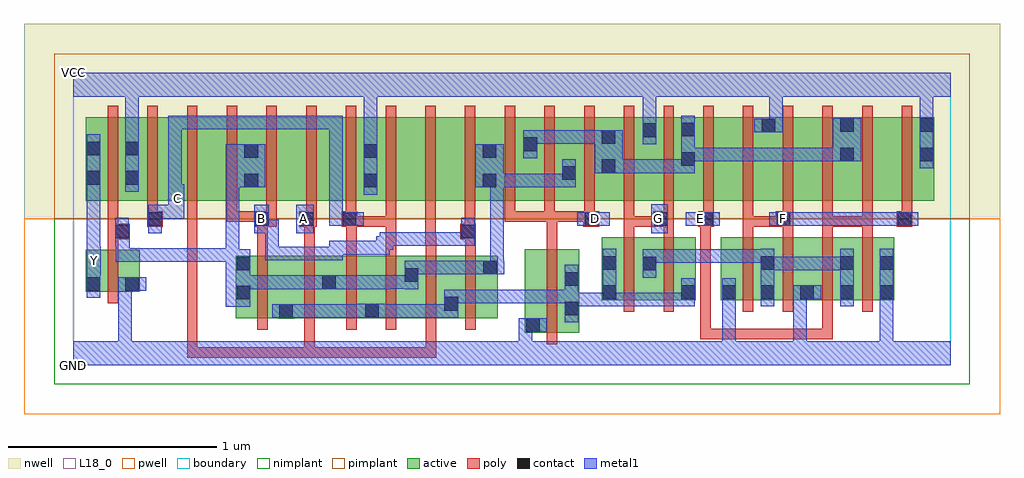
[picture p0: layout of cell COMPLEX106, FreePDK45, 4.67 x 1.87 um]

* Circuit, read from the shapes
.subckt COMPLEX106 A B C D E F G GND VCC Y
M1 GND n1 Y VSUBS nfet w=0.2u l=0.05u
M2 n2 B n1 VSUBS nfet w=0.3u l=0.05u m=2
M3 n1 A n2 VSUBS nfet w=0.3u l=0.05u m=2
M4 n2 C n1 VSUBS nfet w=0.3u l=0.05u m=2
M5 n2 D GND VSUBS nfet w=0.4u l=0.05u
M6 n3 G n2 VSUBS nfet w=0.3u l=0.05u m=2
M7 n3 F GND VSUBS nfet w=0.3u l=0.05u m=2
M8 n3 E GND VSUBS nfet w=0.3u l=0.05u m=2
M9 VCC n1 Y n4 pfet w=0.4u l=0.05u
M10 n5 C VCC n4 pfet w=0.4u l=0.05u
M11 n6 A n5 n4 pfet w=0.4u l=0.05u
M12 n1 B n6 n4 pfet w=0.4u l=0.05u
M13 n7 B n1 n4 pfet w=0.4u l=0.05u
M14 n8 A n7 n4 pfet w=0.4u l=0.05u
M15 VCC C n8 n4 pfet w=0.4u l=0.05u
M16 n9 C VCC n4 pfet w=0.4u l=0.05u
M17 n10 A n9 n4 pfet w=0.4u l=0.05u
M18 n1 B n10 n4 pfet w=0.4u l=0.05u
M19 n11 D n1 n4 pfet w=0.4u l=0.05u m=3
M20 VCC G n11 n4 pfet w=0.4u l=0.05u m=2
M21 n12 E n11 n4 pfet w=0.4u l=0.05u
M22 VCC F n12 n4 pfet w=0.4u l=0.05u
M23 n13 F VCC n4 pfet w=0.4u l=0.05u
M24 n11 E n13 n4 pfet w=0.4u l=0.05u
M25 n14 E n11 n4 pfet w=0.4u l=0.05u
M26 VCC F n14 n4 pfet w=0.4u l=0.05u
.ends

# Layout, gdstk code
import gdstk
lib = gdstk.Library(unit=1e-6, precision=1e-09)
def R(c, l, rs):  # rectangles x0, y0, x1, y1
    for r in rs: c.add(gdstk.rectangle(r[:2], r[2:], *l))
def A(c, l, x, y, w, h, nx, ny, dx, dy):  # array of equal rectangles
    R(c, l, [(x+i*dx, y+j*dy, x+i*dx+w, y+j*dy+h) for i in range(nx) for j in range(ny)])
active = (1, 0)
pwell = (2, 0)
nwell = (3, 0)
nimplant = (4, 0)
pimplant = (5, 0)
poly = (9, 0)
contact = (10, 0)
metal1 = (11, 0)
L18_0 = (18, 0)
boundary = (235, 0)

complex106 = lib.new_cell('COMPLEX106')
A(complex106, active, 0.777, 0.225, 0.28, 0.3, 3, 1, 0.205, 0)
A(complex106, active, 3.285, 0.312, 0.265, 0.3, 3, 1, 0.19, 0)
A(complex106, active, 0.245, 0.787, 0.23, 0.4, 3, 1, 0.57, 0)
A(complex106, active, 0.475, 0.787, 0.19, 0.4, 3, 1, 0.57, 0)
A(complex106, active, 0.665, 0.787, 0.225, 0.4, 3, 1, 0.57, 0)
R(complex106, active, [(2.162,0.155,2.422,0.555), (2.162,0.155,2.237,0.555), (2.347,0.2,2.422,0.555), (0.982,0.222,1.057,0.437), (1.392,0.225,1.657,0.525), (1.392,0.225,1.467,0.517), (1.582,0.225,1.847,0.525), (1.772,0.225,2.032,0.525), (1.772,0.257,1.847,0.405), (0.777,0.31,0.852,0.525), (2.53,0.312,2.605,0.612), (2.53,0.312,2.795,0.612), (2.72,0.312,2.98,0.612), (2.905,0.312,2.98,0.612), (3.1,0.312,3.175,0.612), (3.1,0.312,3.36,0.612), (3.285,0.312,3.36,0.612), (3.475,0.312,3.55,0.437), (3.665,0.312,3.74,0.527), (3.855,0.312,3.93,0.612), (1.187,0.33,1.262,0.435), (1.582,0.33,1.657,0.47), (1.957,0.33,2.032,0.525), (2.72,0.33,2.795,0.525), (0.06,0.352,0.135,0.552), (0.06,0.352,0.32,0.552), (0.245,0.352,0.32,0.552), (0.06,0.787,0.32,1.187), (0.06,0.787,0.135,1.187), (0.245,0.787,0.32,1.187), (0.815,0.787,0.89,1.07), (1.385,0.787,1.46,1.155), (1.955,0.787,2.225,1.187), (1.955,0.787,2.03,1.155), (2.15,0.787,2.41,1.187), (2.15,0.787,2.225,1.187), (2.335,0.787,2.6,1.187), (2.335,0.787,2.41,1.07), (2.525,0.787,2.795,1.187), (2.72,0.787,2.98,1.187), (2.905,0.787,3.135,1.187), (2.905,0.787,2.98,1.165), (3.135,0.787,3.365,1.187), (3.29,0.787,3.515,1.187), (3.515,0.787,3.74,1.187), (3.665,0.787,3.74,1.187), (3.665,0.787,3.895,1.187), (3.895,0.787,4.12,1.187), (4.045,0.787,4.12,1.187), (3.29,0.827,3.365,1.187), (2.525,0.907,2.6,1.187), (2.72,0.907,2.795,1.187)])
R(complex106, pwell, [(-0.235,-0.235,4.435,0.7)])
R(complex106, nwell, [(-0.235,0.7,4.435,1.635)])
R(complex106, nimplant, [(-0.09,-0.09,4.29,0.7)])
R(complex106, pimplant, [(-0.09,0.7,4.29,1.49)])
A(complex106, poly, 1.307, 0.17, 0.05, 0.41, 4, 1, 0.19, 0)
A(complex106, poly, 3.205, 0.257, 0.05, 0.41, 4, 1, 0.19, 0)
A(complex106, poly, 3.205, 0.617, 0.05, 0.095, 4, 1, 0.19, 0)
A(complex106, poly, 0.735, 0.687, 0.05, 0.095, 4, 1, 0.19, 0)
A(complex106, poly, 2.065, 0.687, 0.05, 0.095, 3, 1, 0.19, 0)
A(complex106, poly, 0.165, 0.732, 0.05, 0.51, 21, 1, 0.19, 0)
R(complex106, poly, [(0.545,0.037,0.595,0.087), (0.545,0.037,0.595,0.087), (0.545,0.037,0.595,0.087), (0.545,0.037,0.595,0.087), (0.545,0.037,0.595,0.087), (0.545,0.037,0.595,0.087), (0.545,0.037,0.595,0.087), (0.545,0.037,0.727,0.087), (0.545,0.037,0.595,0.782), (0.677,0.037,0.727,0.087), (0.677,0.037,0.727,0.087), (0.677,0.037,0.727,0.087), (0.677,0.037,0.727,0.087), (0.677,0.037,0.727,0.087), (0.677,0.037,0.86,0.087), (0.81,0.037,0.86,0.087), (0.81,0.037,0.917,0.087), (0.867,0.037,0.917,0.087), (0.867,0.037,1.157,0.087), (1.107,0.037,1.157,0.087), (1.107,0.037,1.157,0.087), (1.107,0.037,1.157,0.087), (1.107,0.037,1.157,0.22), (1.107,0.037,1.29,0.087), (1.24,0.037,1.29,0.087), (1.24,0.037,1.29,0.087), (1.24,0.037,1.29,0.087), (1.24,0.037,1.602,0.087), (1.552,0.037,1.602,0.087), (1.552,0.037,1.602,0.087), (1.552,0.037,1.602,0.087), (1.552,0.037,1.737,0.087), (1.687,0.037,1.737,0.087), (1.687,0.037,1.737,0.087), (1.687,0.037,1.737,0.087), (1.687,0.037,1.737,0.22), (2.267,0.1,2.317,0.61), (3,0.125,3.05,0.175), (3,0.125,3.05,0.175), (3,0.125,3.05,0.175), (3,0.125,3.28,0.175), (3,0.125,3.05,0.712), (3.23,0.125,3.28,0.175), (3.23,0.125,3.412,0.175), (3.362,0.125,3.412,0.175), (3.362,0.125,3.412,0.175), (3.362,0.125,3.412,0.175), (3.362,0.125,3.635,0.175), (3.585,0.125,3.635,0.175), (3.585,0.125,3.635,0.175), (3.585,0.125,3.635,0.175), (3.585,0.125,3.635,0.307), (0.882,0.17,0.932,0.58), (1.107,0.17,1.157,0.58), (2.635,0.257,2.685,0.667), (2.825,0.257,2.875,0.667), (0.165,0.297,0.215,0.607), (0.882,0.53,0.932,0.712), (1.107,0.53,1.157,0.712), (1.307,0.53,1.357,0.712), (1.497,0.53,1.547,0.712), (1.687,0.53,1.737,0.625), (1.877,0.53,1.927,0.652), (0.165,0.557,0.215,0.652), (2.267,0.56,2.317,0.737), (1.685,0.575,1.737,0.625), (1.685,0.575,1.735,0.782), (0.165,0.602,0.272,0.677), (1.852,0.602,1.927,0.677), (2.635,0.617,2.685,0.712), (2.825,0.617,2.875,0.712), (0.165,0.627,0.215,0.782), (1.875,0.627,1.925,0.782), (0.355,0.662,0.43,0.737), (0.867,0.662,0.975,0.737), (1.082,0.662,1.165,0.737), (1.285,0.662,1.36,0.737), (1.31,0.662,1.537,0.712), (1.487,0.662,1.537,0.712), (1.487,0.662,1.545,0.712), (1.495,0.662,1.545,0.782), (1.495,0.662,1.547,0.712), (2.442,0.662,2.517,0.737), (2.635,0.662,2.685,0.782), (2.635,0.662,2.685,0.712), (2.635,0.662,2.825,0.712), (2.775,0.662,2.825,0.712), (2.775,0.662,2.825,0.712), (2.775,0.662,2.875,0.737), (2.99,0.662,3.065,0.737), (3,0.662,3.05,0.712), (3,0.662,3.05,0.712), (3,0.662,3.05,0.712), (3,0.662,3.05,0.712), (3,0.662,3.05,0.712), (3,0.662,3.05,0.712), (3.205,0.662,3.255,0.782), (3.205,0.662,3.255,0.712), (3.205,0.662,3.41,0.712), (3.36,0.662,3.41,0.712), (3.36,0.662,3.412,0.712), (3.362,0.662,3.445,0.737), (3.585,0.662,3.635,0.782), (3.585,0.662,3.635,0.712), (3.585,0.662,3.825,0.712), (3.775,0.662,3.825,0.782), (3.775,0.662,3.825,0.712), (3.775,0.662,3.825,0.712), (3.775,0.662,3.825,0.712), (3.94,0.662,4.015,0.737), (0.355,0.687,0.405,0.782), (0.735,0.687,0.785,0.737), (0.735,0.687,0.917,0.737), (0.867,0.687,0.917,0.737), (0.867,0.687,0.917,0.737), (2.065,0.687,2.115,0.737), (2.065,0.687,2.115,0.737), (2.065,0.687,2.115,0.737), (2.065,0.687,2.305,0.737), (2.255,0.687,2.317,0.737), (2.267,0.687,2.322,0.737), (2.272,0.687,2.322,0.737), (2.272,0.687,2.492,0.737), (2.825,0.687,2.875,0.782), (3.015,0.687,3.065,0.782), (3.395,0.687,3.445,0.782), (3.965,0.687,4.015,0.782)])
A(complex106, contact, 3.29, 0.317, 0.065, 0.065, 4, 1, 0.19, 0)
A(complex106, contact, 0.82, 0.852, 0.065, 0.065, 3, 2, 0.57, 0.14)
R(complex106, contact, [(2.167,0.16,2.232,0.225), (0.987,0.227,1.052,0.292), (1.397,0.23,1.462,0.295), (2.352,0.24,2.417,0.305), (1.777,0.262,1.842,0.327), (0.782,0.315,0.847,0.38), (2.535,0.317,2.6,0.382), (2.91,0.317,2.975,0.382), (3.105,0.317,3.17,0.382), (0.065,0.357,0.13,0.422), (0.25,0.357,0.315,0.422), (1.192,0.365,1.257,0.43), (2.352,0.38,2.417,0.445), (1.587,0.4,1.652,0.465), (1.962,0.435,2.027,0.5), (0.782,0.455,0.847,0.52), (2.725,0.455,2.79,0.52), (2.535,0.457,2.6,0.522), (3.29,0.457,3.355,0.522), (3.67,0.457,3.735,0.522), (3.86,0.457,3.925,0.522), (0.202,0.607,0.267,0.672), (1.857,0.607,1.922,0.672), (0.36,0.667,0.425,0.732), (0.872,0.667,0.937,0.732), (1.087,0.667,1.152,0.732), (1.29,0.667,1.355,0.732), (2.447,0.667,2.512,0.732), (2.78,0.667,2.845,0.732), (2.995,0.667,3.06,0.732), (3.367,0.667,3.432,0.732), (3.945,0.667,4.01,0.732), (0.065,0.865,0.13,0.93), (0.25,0.865,0.315,0.93), (2.34,0.887,2.405,0.952), (2.53,0.92,2.595,0.985), (2.91,0.955,2.975,1.02), (3.67,0.977,3.735,1.042), (4.05,0.977,4.115,1.042), (0.065,1.005,0.13,1.07), (0.25,1.005,0.315,1.07), (2.155,1.025,2.22,1.09), (2.53,1.06,2.595,1.125), (2.725,1.092,2.79,1.157), (2.91,1.095,2.975,1.16), (3.295,1.115,3.36,1.18), (3.67,1.117,3.735,1.182), (4.05,1.117,4.115,1.182)])
R(complex106, metal1, [(0,0,4.2,0.115), (0.215,0.05,0.28,0.115), (0.215,0.05,0.28,0.115), (0.215,0.05,0.28,0.115), (0.215,0.05,0.28,0.115), (0.215,0.05,0.28,0.115), (0.215,0.05,0.28,0.115), (0.215,0.05,0.28,0.422), (2.132,0.05,2.197,0.115), (2.132,0.05,2.197,0.115), (2.132,0.05,2.197,0.225), (3.105,0.05,3.17,0.115), (3.105,0.05,3.17,0.115), (3.105,0.05,3.17,0.115), (3.105,0.05,3.17,0.115), (3.105,0.05,3.17,0.347), (3.445,0.05,3.51,0.382), (3.86,0.05,3.925,0.115), (3.86,0.05,3.925,0.115), (3.86,0.05,3.925,0.115), (3.86,0.05,3.925,0.115), (3.86,0.05,3.925,0.347), (2.132,0.16,2.267,0.225), (2.352,0.205,2.417,0.48), (0.952,0.227,1.087,0.292), (1.022,0.227,1.155,0.292), (1.09,0.227,1.155,0.292), (1.09,0.227,1.29,0.292), (1.225,0.227,1.29,0.292), (1.225,0.227,1.377,0.292), (1.312,0.227,1.377,0.292), (1.312,0.227,1.427,0.292), (1.362,0.227,1.497,0.295), (1.432,0.227,1.515,0.292), (1.45,0.227,1.515,0.292), (1.45,0.227,1.67,0.292), (1.605,0.227,1.67,0.292), (1.605,0.227,1.67,0.292), (1.605,0.227,1.67,0.292), (1.605,0.227,1.842,0.292), (1.777,0.227,1.842,0.362), (0.73,0.28,0.847,0.555), (0.782,0.28,0.847,0.43), (2.352,0.282,2.417,0.347), (2.352,0.282,2.417,0.347), (2.352,0.282,2.6,0.347), (2.535,0.282,2.6,0.557), (2.535,0.282,2.6,0.347), (2.535,0.282,2.6,0.347), (2.535,0.282,2.8,0.347), (2.735,0.282,2.8,0.347), (2.735,0.282,2.8,0.347), (2.735,0.282,2.8,0.347), (2.735,0.282,2.975,0.347), (2.91,0.282,2.975,0.417), (3.105,0.282,3.17,0.417), (3.29,0.282,3.355,0.557), (3.67,0.282,3.735,0.557), (3.86,0.282,3.925,0.557), (0.782,0.285,0.847,0.35), (1.777,0.297,1.842,0.362), (1.777,0.297,1.842,0.362), (1.777,0.297,2.06,0.362), (1.995,0.297,2.06,0.362), (1.995,0.297,2.06,0.362), (1.995,0.297,2.06,0.362), (1.995,0.297,2.267,0.362), (2.202,0.297,2.267,0.362), (2.202,0.297,2.267,0.362), (2.202,0.297,2.267,0.362), (2.202,0.297,2.417,0.362), (3.445,0.317,3.58,0.382), (3.445,0.317,3.51,0.382), (3.445,0.317,3.51,0.382), (3.445,0.317,3.51,0.382), (3.445,0.317,3.51,0.382), (0.065,0.322,0.13,0.457), (0.215,0.357,0.35,0.422), (0.782,0.365,0.985,0.43), (0.92,0.365,0.985,0.43), (0.92,0.365,0.985,0.43), (0.92,0.365,0.985,0.43), (0.92,0.365,1.122,0.43), (1.057,0.365,1.122,0.43), (1.057,0.365,1.222,0.43), (1.157,0.365,1.292,0.43), (1.227,0.365,1.292,0.43), (1.227,0.365,1.292,0.43), (1.227,0.365,1.515,0.43), (1.45,0.365,1.515,0.432), (1.587,0.365,1.652,0.5), (1.45,0.367,1.515,0.432), (1.45,0.367,1.515,0.432), (1.45,0.367,1.652,0.432), (0.065,0.392,0.13,0.497), (2.725,0.42,2.79,0.555), (0.065,0.432,0.132,0.567), (1.587,0.435,1.67,0.5), (1.605,0.435,1.67,0.5), (1.605,0.435,1.807,0.5), (1.742,0.435,1.807,0.5), (1.742,0.435,1.807,0.5), (1.742,0.435,1.807,0.5), (1.742,0.435,1.992,0.5), (1.927,0.435,2.062,0.5), (1.995,0.435,2.06,0.5), (1.995,0.435,2.06,0.5), (1.995,0.435,2.06,0.917), (3.29,0.455,3.492,0.52), (3.427,0.455,3.63,0.52), (3.427,0.455,3.492,0.52), (3.427,0.455,3.492,0.52), (3.427,0.455,3.492,0.52), (3.565,0.455,3.63,0.52), (3.565,0.455,3.735,0.52), (0.73,0.49,0.795,0.555), (0.73,0.49,0.795,0.917), (0.73,0.49,0.795,0.56), (2.725,0.49,2.79,0.555), (2.725,0.49,2.79,0.555), (2.725,0.49,2.937,0.555), (2.872,0.49,2.937,0.555), (2.872,0.49,2.937,0.555), (2.872,0.49,2.937,0.555), (2.872,0.49,3.187,0.555), (3.122,0.49,3.187,0.555), (3.122,0.49,3.187,0.555), (3.122,0.49,3.187,0.555), (3.122,0.49,3.355,0.555), (0.205,0.495,0.27,0.56), (0.205,0.495,0.407,0.56), (0.205,0.495,0.27,0.637), (0.342,0.495,0.407,0.56), (0.342,0.495,0.407,0.56), (0.342,0.495,0.407,0.56), (0.342,0.495,0.657,0.56), (0.592,0.495,0.795,0.56), (0.592,0.495,0.657,0.56), (0.592,0.495,0.657,0.56), (0.592,0.495,0.657,0.56), (0.065,0.502,0.13,0.895), (0.92,0.502,0.985,0.567), (0.92,0.502,1.132,0.567), (0.92,0.502,0.985,0.697), (1.067,0.502,1.132,0.567), (1.067,0.502,1.29,0.567), (1.225,0.502,1.29,0.595), (1.225,0.53,1.377,0.595), (1.312,0.53,1.515,0.595), (1.312,0.53,1.377,0.595), (1.45,0.53,1.515,0.617), (1.45,0.552,1.532,0.617), (1.467,0.552,1.532,0.637), (0.202,0.572,0.267,0.707), (0.202,0.572,0.27,0.637), (0.205,0.572,0.27,0.637), (1.467,0.572,1.67,0.637), (1.605,0.572,1.67,0.637), (1.605,0.572,1.67,0.637), (1.605,0.572,1.67,0.637), (1.605,0.572,1.807,0.637), (1.742,0.572,1.807,0.637), (1.742,0.572,1.807,0.637), (1.742,0.572,1.807,0.637), (1.742,0.572,1.922,0.637), (1.857,0.572,1.922,0.707), (0.36,0.632,0.425,0.767), (0.867,0.632,0.937,0.767), (0.872,0.632,0.985,0.697), (0.92,0.632,0.985,0.697), (1.067,0.632,1.152,0.767), (2.767,0.632,2.845,0.77), (1.225,0.667,1.29,0.732), (1.225,0.667,1.32,0.732), (1.225,0.667,1.29,1.195), (1.255,0.667,1.39,0.732), (2.412,0.667,2.567,0.732), (2.932,0.667,3.095,0.732), (3.332,0.667,3.467,0.732), (3.402,0.667,3.492,0.732), (3.427,0.667,3.492,0.732), (3.427,0.667,3.7,0.732), (3.635,0.667,3.7,0.732), (3.635,0.667,3.7,0.732), (3.635,0.667,3.7,0.732), (3.635,0.667,3.837,0.732), (3.772,0.667,3.975,0.732), (3.772,0.667,3.837,0.732), (3.772,0.667,3.837,0.732), (3.772,0.667,3.837,0.732), (3.91,0.667,4.045,0.732), (0.36,0.702,0.52,0.767), (0.455,0.702,0.532,0.867), (0.455,0.802,0.52,0.867), (0.455,0.802,0.52,0.867), (0.455,0.802,0.52,1.195), (1.39,0.817,1.455,1.092), (0.065,0.83,0.13,1.105), (0.25,0.83,0.315,1.105), (0.73,0.852,0.795,0.917), (0.73,0.852,0.795,0.917), (0.73,0.852,0.92,1.057), (1.925,0.852,2.06,1.057), (1.995,0.852,2.06,0.917), (1.995,0.852,2.06,0.917), (1.995,0.852,2.06,0.917), (1.995,0.852,2.06,0.917), (1.995,0.852,2.267,0.917), (2.202,0.852,2.405,0.917), (2.202,0.852,2.267,0.917), (2.202,0.852,2.267,0.917), (2.202,0.852,2.267,0.917), (2.34,0.852,2.405,0.987), (2.495,0.92,2.63,1.125), (2.565,0.92,2.63,0.985), (2.565,0.92,2.63,0.985), (2.565,0.92,2.767,0.985), (2.702,0.92,2.767,0.985), (2.702,0.92,2.767,0.985), (2.702,0.92,2.767,0.985), (2.702,0.92,2.975,0.985), (2.91,0.92,2.975,1.195), (4.05,0.942,4.115,1.217), (2.91,0.977,2.975,1.042), (2.91,0.977,2.975,1.042), (2.91,0.977,3.187,1.042), (3.122,0.977,3.187,1.042), (3.122,0.977,3.187,1.042), (3.122,0.977,3.187,1.042), (3.122,0.977,3.355,1.042), (3.29,0.977,3.355,1.042), (3.29,0.977,3.355,1.042), (3.29,0.977,3.355,1.042), (3.29,0.977,3.492,1.042), (3.427,0.977,3.492,1.042), (3.427,0.977,3.7,1.042), (3.635,0.977,3.7,1.042), (3.635,0.977,3.7,1.042), (3.635,0.977,3.77,1.182), (2.155,0.99,2.22,1.125), (1.39,1.027,1.455,1.35), (0.25,1.04,0.315,1.35), (2.725,1.057,2.79,1.192), (2.155,1.06,2.22,1.125), (2.155,1.06,2.22,1.125), (2.155,1.06,2.422,1.125), (2.357,1.06,2.56,1.125), (2.357,1.06,2.422,1.125), (2.357,1.06,2.422,1.125), (2.357,1.06,2.422,1.125), (3.26,1.115,3.395,1.18), (3.33,1.115,3.395,1.35), (2.725,1.127,2.79,1.35), (0.455,1.13,0.52,1.195), (0.455,1.13,0.657,1.195), (0.592,1.13,0.795,1.195), (0.592,1.13,0.657,1.195), (0.592,1.13,0.657,1.195), (0.592,1.13,0.657,1.195), (0.73,1.13,0.795,1.195), (0.73,1.13,0.795,1.195), (0.73,1.13,0.795,1.195), (0.73,1.13,0.932,1.195), (0.867,1.13,0.932,1.195), (0.867,1.13,1.085,1.195), (1.02,1.13,1.155,1.195), (1.02,1.13,1.085,1.195), (1.02,1.13,1.085,1.195), (1.02,1.13,1.085,1.195), (1.09,1.13,1.155,1.195), (1.09,1.13,1.29,1.195), (1.225,1.13,1.29,1.195), (4.05,1.152,4.115,1.35), (0,1.285,4.2,1.4)])
R(complex106, L18_0, [(0,0,4.2,0.115), (0.215,0.05,0.28,0.115), (0.215,0.05,0.28,0.115), (0.215,0.05,0.28,0.115), (0.215,0.05,0.28,0.115), (0.215,0.05,0.28,0.115), (0.215,0.05,0.28,0.115), (0.215,0.05,0.28,0.422), (2.132,0.05,2.197,0.115), (2.132,0.05,2.197,0.115), (2.132,0.05,2.197,0.225), (3.105,0.05,3.17,0.115), (3.105,0.05,3.17,0.115), (3.105,0.05,3.17,0.115), (3.105,0.05,3.17,0.115), (3.105,0.05,3.17,0.347), (3.445,0.05,3.51,0.382), (3.86,0.05,3.925,0.115), (3.86,0.05,3.925,0.115), (3.86,0.05,3.925,0.115), (3.86,0.05,3.925,0.115), (3.86,0.05,3.925,0.347), (2.132,0.16,2.267,0.225), (3.105,0.282,3.17,0.417), (3.86,0.282,3.925,0.557), (3.445,0.317,3.51,0.382), (3.445,0.317,3.51,0.382), (3.445,0.317,3.51,0.382), (3.445,0.317,3.51,0.382), (3.445,0.317,3.58,0.382), (0.065,0.322,0.13,0.457), (0.215,0.357,0.35,0.422), (0.065,0.392,0.13,0.497), (0.065,0.432,0.132,0.567), (0.067,0.467,0.132,0.532), (0.065,0.502,0.13,0.895), (0.92,0.502,0.985,0.567), (0.92,0.502,0.985,0.697), (0.92,0.502,1.132,0.567), (1.067,0.502,1.132,0.567), (1.067,0.502,1.29,0.567), (1.225,0.502,1.29,0.595), (1.225,0.53,1.377,0.595), (1.312,0.53,1.377,0.595), (1.312,0.53,1.515,0.595), (1.45,0.53,1.515,0.617), (1.45,0.552,1.532,0.617), (1.467,0.552,1.532,0.637), (1.467,0.572,1.67,0.637), (1.605,0.572,1.67,0.637), (1.605,0.572,1.67,0.637), (1.605,0.572,1.67,0.637), (1.605,0.572,1.807,0.637), (1.742,0.572,1.807,0.637), (1.742,0.572,1.807,0.637), (1.742,0.572,1.807,0.637), (1.742,0.572,1.922,0.637), (1.857,0.572,1.922,0.707), (0.36,0.632,0.425,0.767), (0.867,0.632,0.937,0.767), (0.872,0.632,0.985,0.697), (0.92,0.632,0.985,0.697), (1.067,0.632,1.152,0.767), (2.767,0.632,2.845,0.77), (0.867,0.667,0.932,0.732), (1.067,0.667,1.132,0.732), (1.225,0.667,1.29,0.732), (1.225,0.667,1.29,1.195), (1.225,0.667,1.32,0.732), (1.255,0.667,1.39,0.732), (2.412,0.667,2.567,0.732), (2.467,0.667,2.532,0.732), (2.767,0.667,2.832,0.732), (2.932,0.667,3.095,0.732), (2.967,0.667,3.032,0.732), (3.332,0.667,3.467,0.732), (3.367,0.667,3.432,0.732), (3.402,0.667,3.492,0.732), (3.427,0.667,3.492,0.732), (3.427,0.667,3.7,0.732), (3.635,0.667,3.7,0.732), (3.635,0.667,3.7,0.732), (3.635,0.667,3.7,0.732), (3.635,0.667,3.837,0.732), (3.772,0.667,3.837,0.732), (3.772,0.667,3.837,0.732), (3.772,0.667,3.837,0.732), (3.772,0.667,3.975,0.732), (3.91,0.667,4.045,0.732), (0.36,0.702,0.52,0.767), (0.455,0.702,0.532,0.867), (0.467,0.767,0.532,0.832), (0.455,0.802,0.52,1.195), (0.455,0.802,0.52,0.867), (0.455,0.802,0.52,0.867), (1.39,0.817,1.455,1.092), (0.065,0.83,0.13,1.105), (0.25,0.83,0.315,1.105), (4.05,0.942,4.115,1.217), (1.39,1.027,1.455,1.35), (0.25,1.04,0.315,1.35), (2.725,1.057,2.79,1.192), (3.26,1.115,3.395,1.18), (3.33,1.115,3.395,1.35), (2.725,1.127,2.79,1.35), (0.455,1.13,0.52,1.195), (0.455,1.13,0.657,1.195), (0.592,1.13,0.657,1.195), (0.592,1.13,0.657,1.195), (0.592,1.13,0.657,1.195), (0.592,1.13,0.795,1.195), (0.73,1.13,0.795,1.195), (0.73,1.13,0.795,1.195), (0.73,1.13,0.795,1.195), (0.73,1.13,0.932,1.195), (0.867,1.13,0.932,1.195), (0.867,1.13,1.085,1.195), (1.02,1.13,1.085,1.195), (1.02,1.13,1.085,1.195), (1.02,1.13,1.085,1.195), (1.02,1.13,1.155,1.195), (1.09,1.13,1.155,1.195), (1.09,1.13,1.29,1.195), (1.225,1.13,1.29,1.195), (4.05,1.152,4.115,1.35), (0,1.285,4.2,1.4)])
R(complex106, boundary, [(0,0,4.2,1.4)])
complex106.add(gdstk.Label('A', (1.1,0.7), layer=11, texttype=0))
complex106.add(gdstk.Label('B', (0.9,0.7), layer=11, texttype=0))
complex106.add(gdstk.Label('C', (0.5,0.8), layer=11, texttype=0))
complex106.add(gdstk.Label('D', (2.5,0.7), layer=11, texttype=0))
complex106.add(gdstk.Label('E', (3,0.7), layer=11, texttype=0))
complex106.add(gdstk.Label('F', (3.4,0.7), layer=11, texttype=0))
complex106.add(gdstk.Label('G', (2.8,0.7), layer=11, texttype=0))
complex106.add(gdstk.Label('Y', (0.1,0.5), layer=11, texttype=0))
complex106.add(gdstk.Label('VCC', (0,1.4), layer=11, texttype=0))
complex106.add(gdstk.Label('GND', (0,0), layer=11, texttype=0))

lib.write_gds('COMPLEX106.gds')
